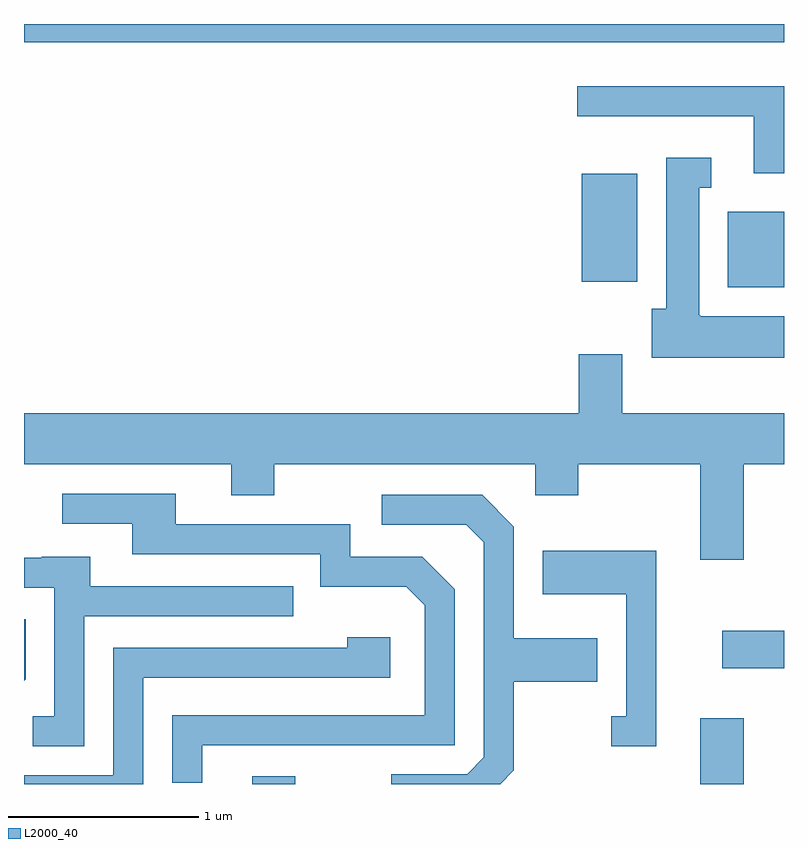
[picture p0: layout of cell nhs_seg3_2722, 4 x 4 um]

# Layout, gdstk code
import gdstk
lib = gdstk.Library(unit=1e-6, precision=1e-09)
def R(c, l, rs):  # rectangles x0, y0, x1, y1
    for r in rs: c.add(gdstk.rectangle(r[:2], r[2:], *l))
def P(c, l, *ps):  # polygons
    for p in ps: c.add(gdstk.Polygon(p, *l))
L2000_40 = (2000, 40)

nhs_seg3_2722 = lib.new_cell('nhs_seg3_2722')
R(nhs_seg3_2722, L2000_40, [(266.811,1119.892,267.039,1119.934), (269.171,1119.892,269.399,1120.239), (269.286,1120.501,269.611,1120.699), (269.316,1122.506,269.611,1122.904), (268.546,1122.536,268.839,1123.104), (265.611,1123.796,269.611,1123.892)])
P(nhs_seg3_2722, L2000_40, [(269.611,1123.564),(268.523,1123.564),(268.523,1123.406),(269.451,1123.406),(269.451,1123.106),(269.611,1123.106)],
  [(269.611,1122.354),(269.17,1122.354),(269.17,1122.36),(269.164,1122.36),(269.164,1123.031),(269.228,1123.031),(269.228,1123.189),(268.991,1123.189),(268.991,1122.394),(268.916,1122.394),(268.916,1122.136),(269.611,1122.136)],
  [(269.399,1121.576),(269.611,1121.576),(269.611,1121.844),(268.759,1121.844),(268.759,1122.154),(268.531,1122.154),(268.531,1121.844),(265.611,1121.844),(265.611,1121.576),(266.701,1121.576),(266.701,1121.411),(266.929,1121.411),(266.929,1121.576),(268.301,1121.576),(268.301,1121.411),(268.529,1121.411),(268.529,1121.576),(269.171,1121.576),(269.171,1121.071),(269.399,1121.071)],
  [(266.549,1120.096),(267.879,1120.096),(267.879,1120.917),(267.707,1121.089),(267.329,1121.089),(267.329,1121.259),(266.409,1121.259),(266.409,1121.419),(265.813,1121.419),(265.813,1121.261),(266.181,1121.261),(266.181,1121.101),(267.171,1121.101),(267.171,1120.931),(267.624,1120.931),(267.721,1120.834),(267.721,1120.254),(266.391,1120.254),(266.391,1119.898),(266.549,1119.898)],
  [(268.189,1119.964),(268.189,1120.431),(268.629,1120.431),(268.629,1120.659),(268.189,1120.659),(268.189,1121.247),(268.022,1121.414),(267.493,1121.414),(267.493,1121.256),(267.939,1121.256),(268.031,1121.164),(268.031,1120.032),(267.944,1119.944),(267.543,1119.944),(267.543,1119.892),(268.117,1119.892)],
  [(268.939,1121.119),(268.341,1121.119),(268.341,1120.891),(268.781,1120.891),(268.781,1120.249),(268.703,1120.249),(268.703,1120.091),(268.939,1120.091)],
  [(265.929,1120.776),(267.028,1120.776),(267.028,1120.934),(265.959,1120.934),(265.959,1121.089),(265.705,1121.089),(265.705,1121.084),(265.611,1121.084),(265.611,1120.926),(265.771,1120.926),(265.771,1120.249),(265.658,1120.249),(265.658,1120.091),(265.929,1120.091)],
  [(265.619,1120.444),(265.619,1120.758),(265.611,1120.758),(265.611,1120.436)],
  [(266.239,1120.451),(267.539,1120.451),(267.539,1120.664),(267.311,1120.664),(267.311,1120.609),(266.081,1120.609),(266.081,1119.939),(265.611,1119.939),(265.611,1119.892),(266.239,1119.892)])

lib.write_gds('nhs_seg3_2722.gds')
